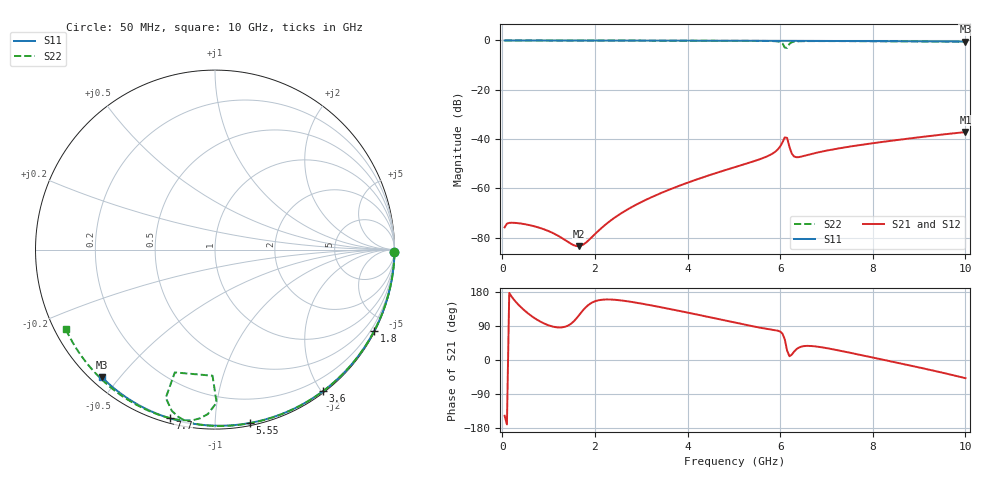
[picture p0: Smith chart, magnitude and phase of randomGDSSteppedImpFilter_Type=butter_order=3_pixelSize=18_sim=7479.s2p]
! freq	dB(S11)	phase(S11)	dB(S12)	phase(S12)
!  dB(S21)	phase(S21)	dB(S22)	phase(S22)
!S-par simulation data
#  GHz  S  DB  R 50
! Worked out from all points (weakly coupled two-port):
!   200 points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, 50 MHz to 10 GHz, reference 50 ohm
!   highest |S21| = -37.19 dB at 10 GHz (marker M1); lowest = -83.5 dB at 1.65 GHz (marker M2)
!   lowest |S11| = -0.4 dB at 10 GHz (marker M3), VSWR 39.11, Z = 1.54 - j22.5 ohm
!   |S11| at or under -10 dB: nowhere
!   |S22| runs from -3.1 to 0.0 dB; largest |S21 - S12| = 0
!   S11 on the Smith chart (normalised r, x): 50 MHz: open; 1.8 GHz: 0.04, -4.17; 3.6 GHz: 0.02, -2.02; 5.55 GHz: 0.02, -1.22; 7.7 GHz: 0.02, -0.77; 10 GHz: 0.03, -0.45
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0.05  -0.00 -0.8  -75.88 -147.1  -75.88 -147.1  -0.00 -0.9
0.15  -0.00 -2.3  -74.07 177.0  -74.07 177.0  -0.00 -2.7
0.4  -0.00 -6.1  -74.32 139.6  -74.32 139.6  -0.00 -7.1
1.25  -0.02 -18.8  -79.78 85.8  -79.78 85.8  -0.03 -21.9
1.65  -0.03 -24.7  -83.51 117.1  -83.51 117.1  -0.04 -28.8
1.75  -0.03 -26.2  -82.84 132.2  -82.84 132.2  -0.04 -30.5
1.8  -0.03 -26.9  -82.17 138.8  -82.17 138.8  -0.04 -31.3
1.95  -0.04 -29.1  -79.55 152.2  -79.55 152.2  -0.04 -33.9
2.65  -0.05 -39.3  -69.21 155.9  -69.21 155.9  -0.06 -45.6
3.4  -0.07 -49.9  -62.16 139.8  -62.16 139.8  -0.08 -57.9
3.6  -0.07 -52.7  -60.61 135.0  -60.61 135.0  -0.08 -61.1
5.05  -0.11 -72.2  -51.27 98.1  -51.27 98.1  -0.13 -84.1
5.55  -0.13 -78.7  -48.29 85.7  -48.29 85.7  -0.17 -92.4
5.95  -0.14 -83.8  -44.22 77.3  -44.22 77.3  -0.41 -102.4
6.1  -0.15 -85.6  -39.34 54.5  -39.34 54.5  -2.85 -108.1
6.15  -0.15 -86.3  -39.56 24.8  -39.56 24.8  -3.06 -91.1
6.2  -0.16 -86.9  -43.14 10.0  -43.14 10.0  -1.39 -89.4
6.3  -0.16 -88.1  -47.09 22.0  -47.09 22.0  -0.51 -95.0
6.7  -0.18 -93.1  -45.96 36.7  -45.96 36.7  -0.25 -104.7
7.7  -0.24 -105.1  -42.52 14.2  -42.52 14.2  -0.29 -119.9
8.35  -0.29 -112.7  -40.84 -2.6  -40.84 -2.6  -0.34 -129.0
10  -0.44 -131.5  -37.19 -48.0  -37.19 -48.0  -0.52 -151.9
